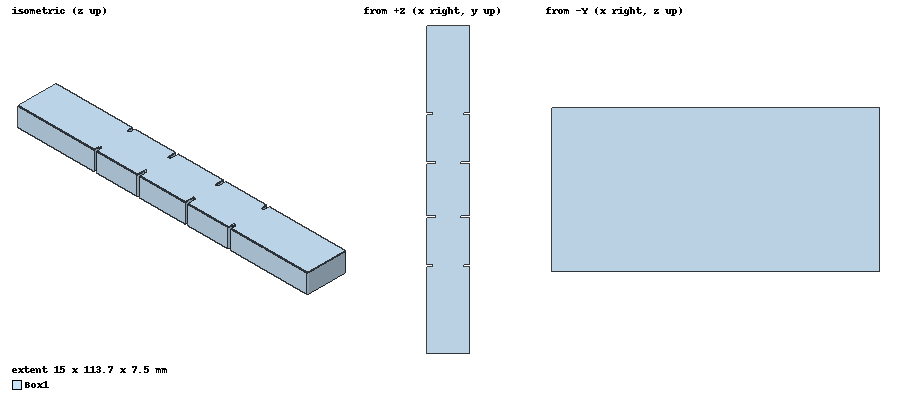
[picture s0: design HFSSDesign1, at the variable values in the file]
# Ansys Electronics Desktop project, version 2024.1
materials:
  vacuum: permittivity=1

design HFSSDesign1 (HFSS, HFSS Modal Network, model units mm)
options: Save_Adaptive_support_files
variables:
  lambda = 3cm
  a = lambda/2
  b = a/2
  l = 2*lambda+4*ts+d1+d2+d3
  l1 = lambda
  s1 = 1.08cm  # optimise 0.525cm..1.575cm
  d1 = 1.6cm  # optimise 0.775cm..2.325cm
  s2 = 0.87cm  # optimise 0.44cm..1.32cm
  ts = lambda/30
  d2 = 1.77cm  # optimise 0.85cm..2.55cm
  d3 = d1
  s3 = s2
  s4 = s1
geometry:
  Box1 [vacuum] = box(corner=(0mm, 0mm, 0mm), size=(a, l, b))
  slot1_1 = box(corner=(0mm, l1, 0mm), size=(a, ts, b))
  slot1_2 = box(corner=(a/2-s1/2, l1, 0mm), size=(s1, ts, b))
  slot1_1.subtract(slot1_2)
  slot1_3 = box(corner=(0mm, l1+ts+d1, 0mm), size=(a, ts, b))
  slot1_4 = box(corner=(a/2-s2/2, l1+ts+d1, 0mm), size=(s2, ts, b))
  slot1_3.subtract(slot1_4)
  slot1_5 = box(corner=(0mm, l1+ts+d1+ts+d2, 0mm), size=(a, ts, b))
  slot1_6 = box(corner=(a/2-s3/2, l1+ts+d1+ts+d2, 0mm), size=(s3, ts, b))
  slot1_5.subtract(slot1_6)
  slot1_7 = box(corner=(0mm, l1+ts+d1+ts+d2+ts+d3, 0mm), size=(a, ts, b))
  slot1_8 = box(corner=(a/2-s4/2, l1+ts+d1+ts+d2+ts+d3, 0mm), size=(s4, ts, b))
  slot1_7.subtract(slot1_8)
  Box1.subtract(slot1_1, slot1_3, slot1_5, slot1_7)
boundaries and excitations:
  1: Wave Port Faces=Box1.face(-y) WavePortType=Modal NumModes=1 Modes{Mode1{CharImp=Zpi}}
  2: Wave Port Faces=Box1.face(+y) WavePortType=Modal NumModes=1 Modes{Mode1{CharImp=Zpi}}
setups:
  Setup1: HfssDriven Frequency=13GHz MaxDeltaS=0.02 MaximumPasses=10 MinimumPasses=1 MinimumConvergedPasses=1 PercentRefinement=30 BasisOrder=1 PortAccuracy=2 DrivenSolverType="Direct Solver"
    sweep Sweep: 10GHz to 14GHz, 451 points; Type=Fast SaveFields
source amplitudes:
  1:1: 1W 0deg
  2:1: 0W 0deg
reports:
  S Parameter Plot 1: dB(S(1,1)), dB(S(2,1)) vs Freq on Setup1 : Sweep
